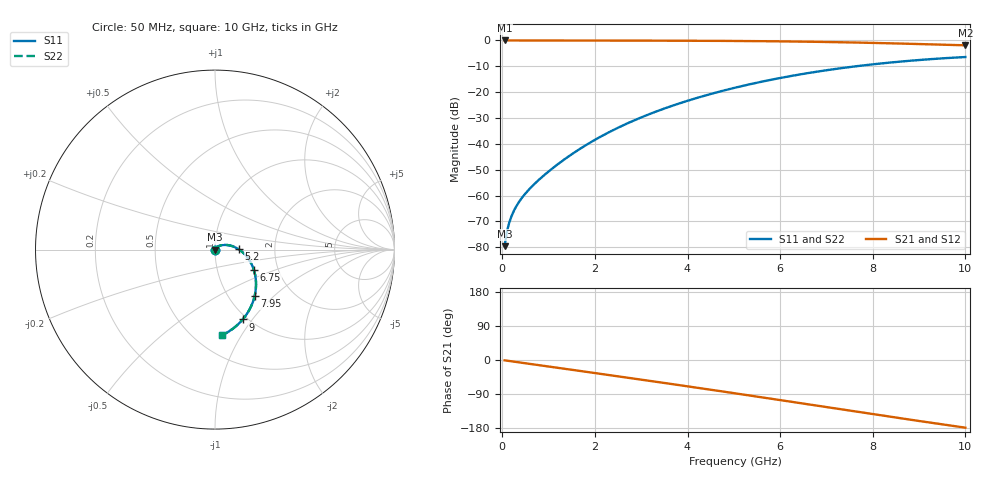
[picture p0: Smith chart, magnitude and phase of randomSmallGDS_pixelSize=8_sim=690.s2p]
! freq	dB(S11)	phase(S11)	dB(S12)	phase(S12)
!  dB(S21)	phase(S21)	dB(S22)	phase(S22)
!S-par simulation data
#  GHz  S  DB  R 50
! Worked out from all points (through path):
!   200 points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, 50 MHz to 10 GHz, reference 50 ohm
!   highest |S21| = 0.00 dB at 50 MHz (marker M1); lowest = -1.9 dB at 10 GHz (marker M2)
!   group delay of S21, straight-line fit = 50 ps
!   lowest |S11| = -79.6 dB at 50 MHz (marker M3), VSWR 1.00, Z = 50 + j0.00977 ohm
!   |S11| at or under -10 dB: start of sweep to 7.633 GHz
!   |S22| runs from -79.6 to -6.4 dB; largest |S21 - S12| = 0
!   S11 on the Smith chart (normalised r, x): 50 MHz: 1.00, +0.00; 5.2 GHz: 1.31, +0.00; 6.75 GHz: 1.50, -0.37; 7.95 GHz: 1.31, -0.77; 9 GHz: 0.95, -0.90; 10 GHz: 0.67, -0.83
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0.05  -79.59 68.7  -0.00 -0.9  -0.00 -0.9  -79.59 68.7
0.1  -73.96 77.8  -0.00 -1.7  -0.00 -1.7  -73.96 77.8
0.15  -70.47 80.6  -0.00 -2.6  -0.00 -2.6  -70.47 80.6
0.2  -67.93 81.6  -0.00 -3.5  -0.00 -3.5  -67.93 81.6
0.3  -64.24 81.9  -0.00 -5.2  -0.00 -5.2  -64.24 81.9
0.45  -60.29 81.0  -0.01 -7.8  -0.01 -7.8  -60.29 81.0
0.7  -55.42 78.5  -0.01 -12.1  -0.01 -12.1  -55.42 78.5
1  -50.69 74.8  -0.02 -17.2  -0.02 -17.2  -50.69 74.8
1.35  -45.90 69.8  -0.03 -23.2  -0.03 -23.2  -45.90 69.8
1.75  -41.11 63.3  -0.03 -30.1  -0.03 -30.1  -41.11 63.3
2.5  -33.76 49.8  -0.05 -43.1  -0.05 -43.1  -33.76 49.8
3.4  -26.98 33.4  -0.08 -58.8  -0.08 -58.8  -26.98 33.4
4.25  -21.99 17.9  -0.12 -73.9  -0.12 -73.9  -21.99 17.9
5.05  -18.18 3.3  -0.20 -88.4  -0.20 -88.4  -18.18 3.3
5.2  -17.54 0.6  -0.22 -91.1  -0.22 -91.1  -17.54 0.6
5.95  -14.70 -13.2  -0.34 -104.8  -0.34 -104.8  -14.70 -13.2
6.7  -12.34 -27.0  -0.51 -118.7  -0.51 -118.7  -12.34 -27.0
6.75  -12.20 -27.9  -0.52 -119.7  -0.52 -119.7  -12.20 -27.9
7.95  -9.34 -49.7  -0.92 -141.9  -0.92 -141.9  -9.34 -49.7
8.35  -8.59 -56.9  -1.09 -149.2  -1.09 -149.2  -8.59 -56.9
9  -7.56 -68.3  -1.38 -160.9  -1.38 -160.9  -7.56 -68.3
10  -6.41 -85.3  -1.88 -178.6  -1.88 -178.6  -6.41 -85.3
